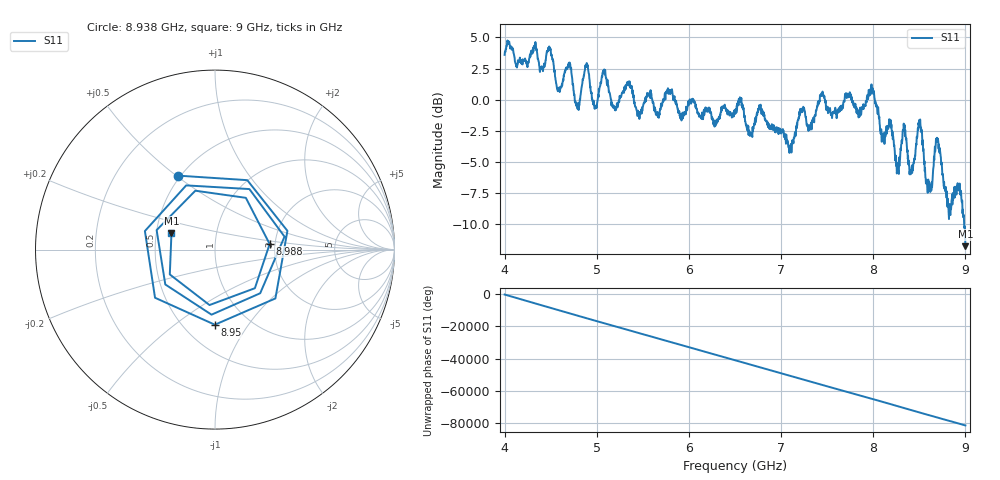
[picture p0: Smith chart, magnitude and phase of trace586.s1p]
! Created with skrf 1.8.0 (http://scikit-rf.org).
# Hz S RI R 50.0
!freq ReS11 ImS11
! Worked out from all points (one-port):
!   1601 points, 4 GHz to 9 GHz, reference 50 ohm
!   lowest |S11| = -11.7 dB at 9 GHz (marker M1), VSWR 1.70, Z = 30.1 + j5.8 ohm
!   |S11| at or under -10 dB: 8.986589 GHz to end of sweep
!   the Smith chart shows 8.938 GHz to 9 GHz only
!   S11 on the Smith chart (normalised r, x): 8.938 GHz: 0.48, +0.51; 8.95 GHz: 0.70, -0.71; 8.988 GHz: 1.87, +0.13; 9 GHz: 0.60, +0.12
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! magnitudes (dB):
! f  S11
! 4 GHz  3.6
! 4.484 GHz  4.3
! 4.625 GHz  1.1
! 4.7 GHz  2.9
! 4.794 GHz  -0.4
! 4.891 GHz  2.9
! 4.978 GHz  -0.7
! 5.078 GHz  2.4
! 5.25 GHz  0.3
! 5.875 GHz  -0.6
! 6.5 GHz  -0.8
! 7.125 GHz  -3.4
! 7.225 GHz  -1.0
! 7.75 GHz  0.4
! 7.988 GHz  0.6
! 8.194 GHz  -2.2
! 8.259 GHz  -5.6
! 8.334 GHz  -2.3
! 8.375 GHz  -4.8
! 8.419 GHz  -5.4
! 8.506 GHz  -2.2
! 8.594 GHz  -6.9
! 8.7 GHz  -3.4
! 8.819 GHz  -9.2
! 8.938 GHz  -6.7
! 8.95 GHz  -7.6
! 8.988 GHz  -10.3
! 9 GHz  -11.7
